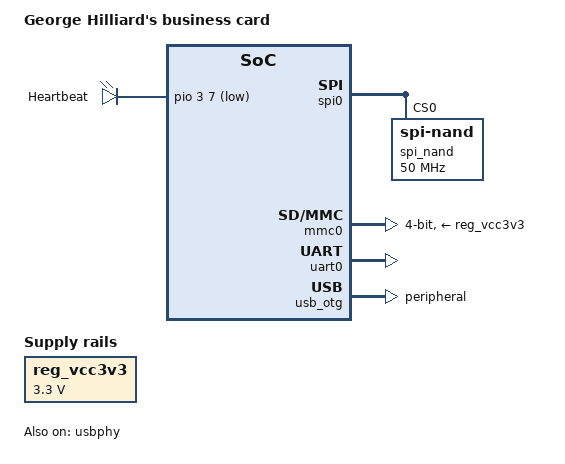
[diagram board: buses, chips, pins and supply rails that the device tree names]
// SPDX-License-Identifier: (GPL-2.0+ OR X11)
/*
 * Copyright 2019 George Hilliard <thirtythreeforty@gmail.com>
 */

/dts-v1/;
#include "suniv-f1c100s.dtsi"

#include <dt-bindings/gpio/gpio.h>

/ {
	model = "George Hilliard's business card";
	compatible = "licheepi,licheepi-nano", "allwinner,suniv-f1c100s",
		     "allwinner,suniv";

	aliases {
		serial0 = &uart0;
		spi0 = &spi0;
	};

	chosen {
		stdout-path = "serial0:115200n8";
	};

	reg_vcc3v3: vcc3v3 {
		compatible = "regulator-fixed";
		regulator-name = "vcc3v3";
		regulator-min-microvolt = <3300000>;
		regulator-max-microvolt = <3300000>;
	};

	leds {
		compatible = "gpio-leds";
		pinctrl-names = "default";
		pinctrl-0 = <&led_pins>;

		heartbeat {
			label = "Heartbeat";
			gpios = <&pio 3 7 GPIO_ACTIVE_LOW>;
			default-state = "on";
			linux,default-trigger = "heartbeat";
		};
	};
};

&pio {
	led_pins: led_pins {
		pins = "PD7";
		function = "gpio_out";
	};
};

&spi0 {
    pinctrl-names = "default";
    pinctrl-0 = <&spi0_pins_a>;
    status = "okay";
    spi_nand: spi-nand@0 {
				#address-cells = <1>;
				#size-cells = <1>;
				compatible = "spi-nand";
				reg = <0>;
				spi-max-frequency = <50000000>;
	};
};

&mmc0 {
	vmmc-supply = <&reg_vcc3v3>;
	bus-width = <4>;
	broken-cd;
	status = "okay";
};

&otg_sram {
	status = "okay";
};

&uart0 {
	pinctrl-names = "default";
	pinctrl-0 = <&uart0_pe_pins>;
	status = "okay";
};

&usb_otg {
	dr_mode = "peripheral";
	status = "okay";
};

&usbphy {
	usb0_id_det-gpio = <&pio 4 2 GPIO_ACTIVE_HIGH>; /* PE2 */
	status = "okay";
};
